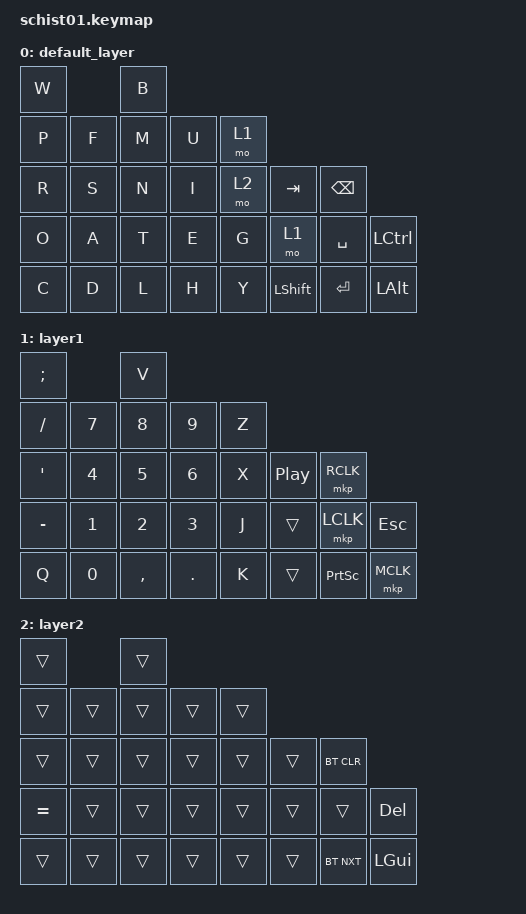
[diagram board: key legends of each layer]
#include <behaviors.dtsi>
#include <dt-bindings/zmk/keys.h>
#include <dt-bindings/zmk/bt.h>
#include <dt-bindings/zmk/mouse.h>

/ {
    keymap {
        compatible = "zmk,keymap";

        default_layer {
            bindings = <
                &kp W              &kp B 
                &kp P     &kp F    &kp M      &kp U     &mo 1
                &kp R     &kp S    &kp N      &kp I     &mo 2    &kp TAB     &kp BACKSPACE
                &kp O     &kp A    &kp T      &kp E     &kp G    &mo 1       &kp SPACE    &kp LCTRL
                &kp C     &kp D    &kp L      &kp H     &kp Y    &kp LSHIFT  &kp RET      &kp LALT
            >;
        };
        layer1 {
            bindings = <
                &kp SEMI           &kp V 
                &kp SLASH &kp N7   &kp N8     &kp N9    &kp Z
                &kp SQT   &kp N4   &kp N5     &kp N6    &kp X    &kp C_PLAY_PAUSE    &mkp RCLK
                &kp MINUS &kp N1   &kp N2     &kp N3    &kp J    &trans      &mkp LCLK    &kp ESC
                &kp Q     &kp N0   &kp COMMA  &kp DOT   &kp K    &trans      &kp PSCRN    &mkp MCLK
            >;
        };
        layer2 {
            bindings = <
                &trans             &trans  
                &trans    &trans   &trans     &trans    &trans
                &trans    &trans   &trans     &trans    &trans   &trans     &bt BT_CLR
                &kp EQUAL &trans   &trans     &trans    &trans   &trans     &trans        &kp DEL
                &trans    &trans   &trans     &trans    &trans   &trans     &bt BT_NXT    &kp LGUI
            >;
        };
    };
};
